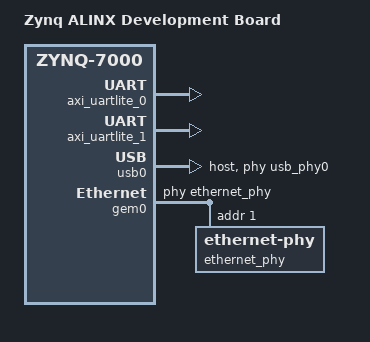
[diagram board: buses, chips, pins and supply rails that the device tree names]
/include/ "system-conf.dtsi"
/ {
	model = "Zynq ALINX Development Board";
	compatible = "alinx,zynq", "xlnx,zynq-7000";
	aliases {
		ethernet0 = "&gem0";
		serial0 = "&uart1";
	};

	usb_phy0: usb_phy@0 {
		compatible = "ulpi-phy";
		#phy-cells = <0>;
		reg = <0xe0002000 0x1000>;
		view-port = <0x0170>;
		drv-vbus;
	};

};

&uart1 {
	u-boot,dm-pre-reloc;
};

&axi_uartlite_0 {
    status = "okay";
};

&axi_uartlite_1 {
    status = "okay";
};

&usb0 {
	dr_mode = "host";	
	usb-phy = <&usb_phy0>;
};

&sdhci0 {
	u-boot,dm-pre-reloc;
};

&flash0 {
	compatible = "micron,m25p80", "w25q256", "spi-flash";
};


&gem0 {
	phy-handle = <&ethernet_phy>;
	ethernet_phy: ethernet-phy@1 {
		reg = <1>;
		device_type = "ethernet-phy";
	};
};
